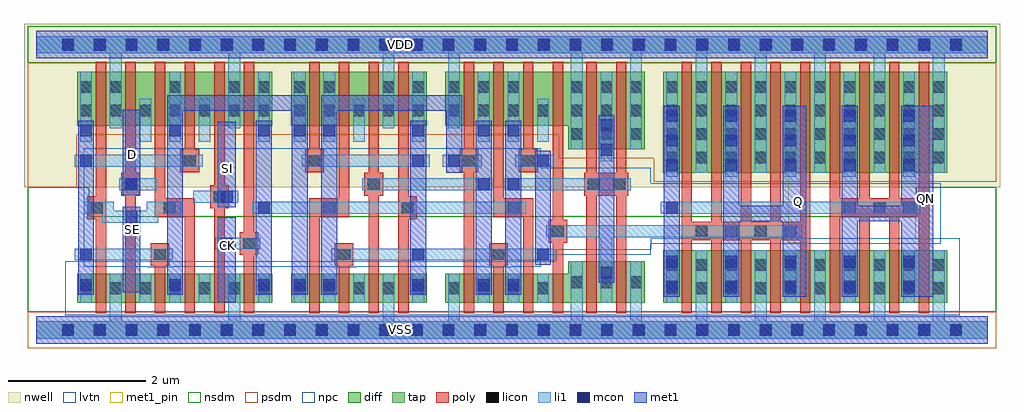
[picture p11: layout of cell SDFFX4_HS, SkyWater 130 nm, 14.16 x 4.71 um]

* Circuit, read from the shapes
.subckt SDFFX4_HS CK D Q QN SE SI VDD VSS
XM1 VSS SE n1 VSS sky130_fd_pr__nfet_01v8_lvt w=0.425 l=0.15
XM2 n2 D VSS VSS sky130_fd_pr__nfet_01v8_lvt w=0.425 l=0.15
XM3 n3 n1 n2 VSS sky130_fd_pr__nfet_01v8_lvt w=0.425 l=0.15
XM4 n4 SE n3 VSS sky130_fd_pr__nfet_01v8_lvt w=0.425 l=0.15
XM5 VSS SI n4 VSS sky130_fd_pr__nfet_01v8_lvt w=0.425 l=0.15
XM6 n5 CK VSS VSS sky130_fd_pr__nfet_01v8_lvt w=0.425 l=0.15
XM7 n6 n5 n3 VSS sky130_fd_pr__nfet_01v8_lvt w=0.425 l=0.15
XM8 n7 n8 n6 VSS sky130_fd_pr__nfet_01v8_lvt w=0.425 l=0.15
XM9 VSS n9 n7 VSS sky130_fd_pr__nfet_01v8_lvt w=0.425 l=0.15
XM10 n8 n5 VSS VSS sky130_fd_pr__nfet_01v8_lvt w=0.425 l=0.15
XM11 n9 n6 VSS VSS sky130_fd_pr__nfet_01v8_lvt w=0.425 l=0.15
XM12 n10 n8 n9 VSS sky130_fd_pr__nfet_01v8_lvt w=0.425 l=0.15
XM13 n11 n5 n10 VSS sky130_fd_pr__nfet_01v8_lvt w=0.425 l=0.15
XM14 VSS n12 n11 VSS sky130_fd_pr__nfet_01v8_lvt w=0.425 l=0.15
XM15 n12 n10 VSS VSS sky130_fd_pr__nfet_01v8_lvt w=0.6 l=0.15 m=2
XM16 VSS n12 n13 VSS sky130_fd_pr__nfet_01v8_lvt w=0.76 l=0.15
XM17 Q n12 VSS VSS sky130_fd_pr__nfet_01v8_lvt w=0.76 l=0.15 m=4
XM18 QN n13 VSS VSS sky130_fd_pr__nfet_01v8_lvt w=0.76 l=0.15 m=4
XM19 VDD SE n1 VDD sky130_fd_pr__pfet_01v8 w=0.78 l=0.15
XM20 n14 D VDD VDD sky130_fd_pr__pfet_01v8 w=0.78 l=0.15
XM21 n3 SE n14 VDD sky130_fd_pr__pfet_01v8 w=0.78 l=0.15
XM22 n15 n1 n3 VDD sky130_fd_pr__pfet_01v8 w=0.78 l=0.15
XM23 VDD SI n15 VDD sky130_fd_pr__pfet_01v8 w=0.78 l=0.15
XM24 n5 CK VDD VDD sky130_fd_pr__pfet_01v8 w=0.78 l=0.15
XM25 n6 n8 n3 VDD sky130_fd_pr__pfet_01v8 w=0.78 l=0.15
XM26 n16 n5 n6 VDD sky130_fd_pr__pfet_01v8 w=0.78 l=0.15
XM27 VDD n9 n16 VDD sky130_fd_pr__pfet_01v8 w=0.78 l=0.15
XM28 n8 n5 VDD VDD sky130_fd_pr__pfet_01v8 w=0.78 l=0.15
XM29 n9 n6 VDD VDD sky130_fd_pr__pfet_01v8 w=0.78 l=0.15
XM30 n10 n5 n9 VDD sky130_fd_pr__pfet_01v8 w=0.78 l=0.15
XM31 n17 n8 n10 VDD sky130_fd_pr__pfet_01v8 w=0.78 l=0.15
XM32 VDD n12 n17 VDD sky130_fd_pr__pfet_01v8 w=0.78 l=0.15
XM33 n12 n10 VDD VDD sky130_fd_pr__pfet_01v8 w=1.12 l=0.15 m=2
XM34 VDD n12 n13 VDD sky130_fd_pr__pfet_01v8 w=1.46 l=0.15
XM35 Q n12 VDD VDD sky130_fd_pr__pfet_01v8 w=1.46 l=0.15 m=4
XM36 QN n13 VDD VDD sky130_fd_pr__pfet_01v8 w=1.46 l=0.15 m=4
.ends

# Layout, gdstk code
from math import pi, radians
import gdstk
lib = gdstk.Library(unit=1e-6, precision=1e-09)
def R(c, l, rs):  # rectangles x0, y0, x1, y1
    for r in rs: c.add(gdstk.rectangle(r[:2], r[2:], *l))
def A(c, l, x, y, w, h, nx, ny, dx, dy):  # array of equal rectangles
    R(c, l, [(x+i*dx, y+j*dy, x+i*dx+w, y+j*dy+h) for i in range(nx) for j in range(ny)])
def P(c, l, *ps):  # polygons
    for p in ps: c.add(gdstk.Polygon(p, *l))
nwell = (64, 20)
diff = (65, 20)
tap = (65, 44)
poly = (66, 20)
licon = (66, 44)
li1 = (67, 20)
mcon = (67, 44)
met1_pin = (68, 16)
met1 = (68, 20)
nsdm = (93, 44)
psdm = (94, 20)
npc = (95, 20)
lvtn = (125, 44)

pyl1con_c_cdns_758729172 = lib.new_cell('PYL1CON_C_CDNS_758729172862')
R(pyl1con_c_cdns_758729172, poly, [(-0.135,-0.165,0.135,0.165)])
R(pyl1con_c_cdns_758729172, licon, [(-0.085,-0.085,0.085,0.085)])
R(pyl1con_c_cdns_758729172, npc, [(-0.185,-0.185,0.185,0.185)])

l1m1_c_cdns_758729172861 = lib.new_cell('L1M1_C_CDNS_7587291728613')
R(l1m1_c_cdns_758729172861, li1, [(-0.085,-0.525,0.085,0.525)])
A(l1m1_c_cdns_758729172861, mcon, -0.085, -0.445, 0.17, 0.17, 1, 3, 0, 0.36)
R(l1m1_c_cdns_758729172861, met1, [(-0.115,-0.505,0.115,0.505)])

c_l1m1_c_cdns_758729172861 = lib.new_cell('L1M1_C_CDNS_758729172861')
R(c_l1m1_c_cdns_758729172861, li1, [(-0.085,-0.165,0.085,0.165)])
R(c_l1m1_c_cdns_758729172861, mcon, [(-0.085,-0.085,0.085,0.085)])
R(c_l1m1_c_cdns_758729172861, met1, [(-0.115,-0.145,0.115,0.145)])

l1m1_c_cdns_758729172864 = lib.new_cell('L1M1_C_CDNS_758729172864')
R(l1m1_c_cdns_758729172864, li1, [(-0.085,-0.345,0.085,0.345)])
R(l1m1_c_cdns_758729172864, mcon, [(-0.085,-0.265,0.085,-0.095), (-0.085,0.095,0.085,0.265)])
R(l1m1_c_cdns_758729172864, met1, [(-0.115,-0.325,0.115,0.325)])

l1m1_c_cdns_758729172860 = lib.new_cell('L1M1_C_CDNS_758729172860')
R(l1m1_c_cdns_758729172860, li1, [(-0.165,-0.085,0.165,0.085)])
R(l1m1_c_cdns_758729172860, mcon, [(-0.085,-0.085,0.085,0.085)])
R(l1m1_c_cdns_758729172860, met1, [(-0.115,-0.145,0.115,0.145)])

licondiff_c_cdns_7587291 = lib.new_cell('LICONDIFF_C_CDNS_7587291728611')
R(licondiff_c_cdns_7587291, diff, [(-0.125,-0.145,0.125,0.145)])
R(licondiff_c_cdns_7587291, licon, [(-0.085,-0.085,0.085,0.085), (-0.085,-0.085,0.085,0.085)])

c_pyl1con_c_cdns_758729172 = lib.new_cell('PYL1CON_C_CDNS_7587291728618')
R(c_pyl1con_c_cdns_758729172, poly, [(-0.135,-0.29,0.135,0.29)])
R(c_pyl1con_c_cdns_758729172, licon, [(-0.085,-0.085,0.085,0.085)])
R(c_pyl1con_c_cdns_758729172, npc, [(-0.185,-0.185,0.185,0.185)])

l1m1_c_cdns_758729172862 = lib.new_cell('L1M1_C_CDNS_7587291728621')
R(l1m1_c_cdns_758729172862, li1, [(-0.125,-0.085,0.125,0.085)])
R(l1m1_c_cdns_758729172862, mcon, [(-0.085,-0.085,0.085,0.085)])
R(l1m1_c_cdns_758729172862, met1, [(-0.115,-0.145,0.115,0.145)])

c_pyl1con_c_cdns_758729172_ = lib.new_cell('PYL1CON_C_CDNS_7587291728622')
R(c_pyl1con_c_cdns_758729172_, poly, [(-0.135,-0.37,0.135,0.21)])
R(c_pyl1con_c_cdns_758729172_, licon, [(-0.085,-0.085,0.085,0.085)])
R(c_pyl1con_c_cdns_758729172_, npc, [(-0.185,-0.185,0.185,0.185)])

sdffx4_hs = lib.new_cell('SDFFX4_HS')
R(sdffx4_hs, nwell, [(-0.18,2.07,13.98,4.445)])
R(sdffx4_hs, diff, [(0.595,0.395,3.425,0.82), (3.695,0.395,5.665,0.82), (9.095,0.395,13.215,1.155), (9.095,2.285,13.215,3.745), (0.595,2.965,3.425,3.745), (3.695,2.965,5.665,3.745)])
P(sdffx4_hs, diff, [(8.825,3.745),(5.935,3.745),(5.935,2.965),(7.715,2.965),(7.715,2.625),(8.825,2.625)],
  [(8.825,0.995),(7.715,0.995),(7.715,0.82),(5.935,0.82),(5.935,0.395),(8.825,0.395)])
A(sdffx4_hs, poly, 9.36, 0.245, 0.15, 3.65, 9, 1, 0.43, 0)
R(sdffx4_hs, poly, [(0.86,0.245,1.01,3.895), (1.29,0.245,1.44,3.895), (1.72,0.245,1.87,0.97), (2.58,0.245,2.73,3.895), (3.01,0.245,3.16,3.895), (4.39,0.245,4.54,0.97), (4.82,0.245,4.97,3.895), (5.25,0.245,5.4,3.895), (6.2,0.245,6.35,3.895), (6.63,0.245,6.78,0.97), (7.49,0.245,7.64,3.895), (2.15,2.455,2.3,3.895), (3.96,2.455,4.11,3.895), (7.06,2.455,7.21,3.895)])
P(sdffx4_hs, poly, [(2.3,1.85),(1.87,1.85),(1.87,3.895),(1.72,3.895),(1.72,1.7),(2.15,1.7),(2.15,0.245),(2.3,0.245)],
  [(4.54,3.895),(4.39,3.895),(4.39,1.85),(3.96,1.85),(3.96,0.245),(4.11,0.245),(4.11,1.7),(4.54,1.7)],
  [(7.21,1.85),(6.78,1.85),(6.78,3.895),(6.63,3.895),(6.63,1.7),(7.06,1.7),(7.06,0.245),(7.21,0.245)],
  [(8.59,2.28),(8.56,2.28),(8.56,3.895),(8.41,3.895),(8.41,2.28),(8.13,2.28),(8.13,3.895),(7.98,3.895),(7.98,2.28),(7.95,2.28),(7.95,1.95),(7.98,1.95),(7.98,0.245),(8.13,0.245),(8.13,1.95),(8.41,1.95),(8.41,0.245),(8.56,0.245),(8.56,1.95),(8.59,1.95)])
A(sdffx4_hs, licon, 0.375, -0.085, 0.17, 0.17, 29, 2, 0.46, 4.14)
A(sdffx4_hs, licon, 1.065, 0.52, 0.17, 0.17, 3, 2, 0.86, 2.58)
A(sdffx4_hs, licon, 5.975, 0.52, 0.17, 0.17, 3, 2, 0.43, 2.58)
A(sdffx4_hs, licon, 9.135, 0.52, 0.17, 0.17, 10, 2, 0.43, 0.34)
A(sdffx4_hs, licon, 7.755, 0.61, 0.17, 0.17, 3, 2, 0.43, 2.15)
A(sdffx4_hs, licon, 9.135, 2.42, 0.17, 0.17, 10, 4, 0.43, 0.34)
A(sdffx4_hs, licon, 7.755, 3.1, 0.17, 0.17, 3, 2, 0.43, 0.34)
A(sdffx4_hs, licon, 1.065, 3.44, 0.17, 0.17, 3, 1, 0.86, 0)
A(sdffx4_hs, licon, 5.975, 3.44, 0.17, 0.17, 3, 1, 0.43, 0)
R(sdffx4_hs, licon, [(0.635,0.52,0.805,0.69), (3.215,0.52,3.385,0.69), (3.735,0.52,3.905,0.69), (4.165,0.52,4.335,0.69), (5.025,0.52,5.195,0.69), (5.455,0.52,5.625,0.69), (0.635,3.1,0.805,3.27), (3.215,3.1,3.385,3.27), (3.735,3.1,3.905,3.27), (4.165,3.1,4.335,3.27), (5.025,3.1,5.195,3.27), (5.455,3.1,5.625,3.27), (0.635,3.44,0.805,3.61), (3.215,3.44,3.385,3.61), (3.735,3.44,3.905,3.61), (4.165,3.44,4.335,3.61), (5.025,3.44,5.195,3.61), (5.455,3.44,5.625,3.61)])
A(sdffx4_hs, li1, 0.635, 0.395, 0.17, 0.425, 3, 1, 1.29, 0)
A(sdffx4_hs, li1, 9.135, 0.395, 0.17, 0.76, 5, 1, 0.86, 0)
A(sdffx4_hs, li1, 9.135, 2.285, 0.17, 1.46, 5, 1, 0.86, 0)
A(sdffx4_hs, li1, 0.635, 2.965, 0.17, 0.78, 3, 1, 1.29, 0)
R(sdffx4_hs, li1, [(3.735,0.395,3.905,0.82), (4.165,0.395,4.335,0.82), (5.455,0.395,5.625,0.82), (6.405,0.395,6.575,0.82), (6.835,0.395,7.005,0.82), (8.185,2.625,8.355,3.745), (3.735,2.965,3.905,3.745), (4.165,2.965,4.335,3.745), (5.455,2.965,5.625,3.745), (6.405,2.965,6.575,3.745), (6.835,2.965,7.005,3.745)])
P(sdffx4_hs, li1, [(2.095,1.86),(1.6,1.86),(1.6,1.73),(1.12,1.73),(1.12,1.86),(0.69,1.86),(0.69,1.69),(0.95,1.69),(0.95,1.56),(1.77,1.56),(1.77,1.69),(2.095,1.69)],
  [(11.105,1.52),(7.4,1.52),(7.4,1.35),(8.185,1.35),(8.185,0.395),(8.355,0.395),(8.355,1.35),(11.105,1.35)],
  [(13.8,4.265),(0,4.265),(0,4.015),(1.065,4.015),(1.065,2.925),(1.235,2.925),(1.235,4.015),(2.785,4.015),(2.785,2.925),(2.955,2.925),(2.955,4.015),(5.025,4.015),(5.025,2.925),(5.195,2.925),(5.195,4.015),(5.975,4.015),(5.975,2.925),(6.145,2.925),(6.145,4.015),(7.755,4.015),(7.755,2.625),(7.925,2.625),(7.925,4.015),(8.615,4.015),(8.615,2.625),(8.785,2.625),(8.785,4.015),(9.565,4.015),(9.565,2.285),(9.735,2.285),(9.735,4.015),(10.425,4.015),(10.425,2.285),(10.595,2.285),(10.595,4.015),(11.285,4.015),(11.285,2.285),(11.455,2.285),(11.455,4.015),(12.145,4.015),(12.145,2.285),(12.315,2.285),(12.315,4.015),(13.005,4.015),(13.005,2.285),(13.175,2.285),(13.175,4.015),(13.8,4.015)],
  [(13.8,0.125),(13.175,0.125),(13.175,1.155),(13.005,1.155),(13.005,0.125),(12.315,0.125),(12.315,1.155),(12.145,1.155),(12.145,0.125),(11.455,0.125),(11.455,1.155),(11.285,1.155),(11.285,0.125),(10.595,0.125),(10.595,1.155),(10.425,1.155),(10.425,0.125),(9.735,0.125),(9.735,1.155),(9.565,1.155),(9.565,0.125),(8.785,0.125),(8.785,0.995),(8.615,0.995),(8.615,0.125),(7.925,0.125),(7.925,0.995),(7.755,0.995),(7.755,0.125),(6.145,0.125),(6.145,0.82),(5.975,0.82),(5.975,0.125),(5.195,0.125),(5.195,0.82),(5.025,0.82),(5.025,0.125),(2.955,0.125),(2.955,0.82),(2.785,0.82),(2.785,0.125),(1.235,0.125),(1.235,0.82),(1.065,0.82),(1.065,0.125),(0,0.125),(0,-0.125),(13.8,-0.125)])
A(sdffx4_hs, mcon, 0.375, -0.085, 0.17, 0.17, 29, 2, 0.46, 4.14)
R(sdffx4_hs, met1_pin, [(2.63,0.4,2.89,1.64), (1.25,0.55,1.51,1.79), (10.91,1.27,11.17,2.51), (12.75,1.32,13.01,2.56), (2.63,1.785,2.89,3.025), (1.25,1.955,1.51,3.195)])
P(sdffx4_hs, met1, [(11.17,3.255),(10.825,3.255),(10.825,1.805),(10.195,1.805),(10.195,3.255),(9.965,3.255),(9.965,0.485),(10.195,0.485),(10.195,1.575),(10.825,1.575),(10.825,0.48),(11.17,0.48)],
  [(13.01,3.255),(12.545,3.255),(12.545,1.805),(11.915,1.805),(11.915,3.255),(11.685,3.255),(11.685,0.485),(11.915,0.485),(11.915,1.575),(12.545,1.575),(12.545,0.48),(13.01,0.48)])
R(sdffx4_hs, nsdm, [(-0.125,3.875,13.925,4.405)])
P(sdffx4_hs, nsdm, [(13.925,2.07),(12.765,2.07),(12.765,1.65),(0.77,1.65),(0.77,2.07),(-0.125,2.07),(-0.125,0.265),(13.925,0.265)])
R(sdffx4_hs, psdm, [(-0.125,-0.265,13.925,0.265)])
P(sdffx4_hs, psdm, [(13.925,3.875),(-0.125,3.875),(-0.125,2.07),(0.585,2.07),(0.585,2.835),(7.575,2.835),(7.575,2.495),(8.955,2.495),(8.955,2.155),(13.925,2.155)])
P(sdffx4_hs, npc, [(13.12,2.13),(8.915,2.13),(8.915,2.355),(7.32,2.355),(7.32,2.64),(0.69,2.64),(0.69,0.915),(7.32,0.915),(7.32,1.09),(8.915,1.09),(8.915,1.25),(13.12,1.25)])
P(sdffx4_hs, lvtn, [(13.395,1.335),(8.915,1.335),(8.915,1.175),(7.535,1.175),(7.535,1),(0.415,1),(0.415,0.215),(13.395,0.215)])
sdffx4_hs.add(gdstk.FlexPath([(5.895,2.455),(6.46,2.455)], 0.17, ends="flush", simple_path=True, layer=67, datatype=20))  # li1
sdffx4_hs.add(gdstk.FlexPath([(3.85,2.455),(5.705,2.455)], 0.17, ends="flush", simple_path=True, layer=67, datatype=20))  # li1
sdffx4_hs.add(gdstk.FlexPath([(6.615,2.115),(4.73,2.115)], 0.17, ends="flush", simple_path=True, layer=67, datatype=20))  # li1
sdffx4_hs.add(gdstk.FlexPath([(0.555,1.095),(1.98,1.095)], 0.17, ends="flush", simple_path=True, layer=67, datatype=20))  # li1
sdffx4_hs.add(gdstk.FlexPath([(4.68,2.73),(4.68,3.355)], 0.17, ends="flush", simple_path=True, layer=67, datatype=20))  # li1
sdffx4_hs.add(gdstk.FlexPath([(4.68,0.395),(4.68,0.82)], 0.17, ends="flush", simple_path=True, layer=67, datatype=20))  # li1
sdffx4_hs.add(gdstk.FlexPath([(2.82,1.935),(2.275,1.935)], 0.17, ends="flush", simple_path=True, layer=67, datatype=20))  # li1
sdffx4_hs.add(gdstk.FlexPath([(3.25,1.255),(2.705,1.255)], 0.17, ends="flush", simple_path=True, layer=67, datatype=20))  # li1
sdffx4_hs.add(gdstk.FlexPath([(3.135,1.775),(7.105,1.775)], 0.17, ends="flush", simple_path=True, layer=67, datatype=20))  # li1
sdffx4_hs.add(gdstk.FlexPath([(7.35,0.395),(7.35,0.82)], 0.17, ends="flush", simple_path=True, layer=67, datatype=20))  # li1
sdffx4_hs.add(gdstk.FlexPath([(7.35,2.73),(7.35,3.355)], 0.17, ends="flush", simple_path=True, layer=67, datatype=20))  # li1
sdffx4_hs.add(gdstk.FlexPath([(6.95,2.455),(7.515,2.455)], 0.17, ends="flush", simple_path=True, layer=67, datatype=20))  # li1
sdffx4_hs.add(gdstk.FlexPath([(0.555,2.455),(2.41,2.455)], 0.17, ends="flush", simple_path=True, layer=67, datatype=20))  # li1
sdffx4_hs.add(gdstk.FlexPath([(1.58,2.73),(1.58,3.355)], 0.17, ends="flush", simple_path=True, layer=67, datatype=20))  # li1
sdffx4_hs.add(gdstk.FlexPath([(2.44,2.73),(2.44,3.355)], 0.17, ends="flush", simple_path=True, layer=67, datatype=20))  # li1
sdffx4_hs.add(gdstk.FlexPath([(6.795,2.115),(8.62,2.115)], 0.17, ends="flush", simple_path=True, layer=67, datatype=20))  # li1
sdffx4_hs.add(gdstk.FlexPath([(4.28,1.095),(7.515,1.095)], 0.17, ends="flush", simple_path=True, layer=67, datatype=20))  # li1
sdffx4_hs.add(gdstk.FlexPath([(9.22,1.775),(12.825,1.775)], 0.17, ends="flush", simple_path=True, layer=67, datatype=20))  # li1
sdffx4_hs.add(gdstk.FlexPath([(1.58,0.395),(1.58,0.82)], 0.17, ends="flush", simple_path=True, layer=67, datatype=20))  # li1
sdffx4_hs.add(gdstk.FlexPath([(2.44,0.395),(2.44,0.82)], 0.17, ends="flush", simple_path=True, layer=67, datatype=20))  # li1
sdffx4_hs.add(gdstk.FlexPath([(1.745,2.115),(1.2,2.115)], 0.17, ends="flush", simple_path=True, layer=67, datatype=20))  # li1
sdffx4_hs.add(gdstk.FlexPath([(0,4.14),(13.8,4.14)], 0.4, ends="flush", simple_path=True, layer=68, datatype=20))  # met1
sdffx4_hs.add(gdstk.FlexPath([(7.35,0.95),(7.35,2.6)], 0.23, ends="flush", simple_path=True, layer=68, datatype=20))  # met1
sdffx4_hs.add(gdstk.FlexPath([(2.01,0.51),(2.01,3.295),(3.82,3.295),(3.82,0.51)], 0.23, ends="flush", simple_path=True, layer=68, datatype=20))  # met1
sdffx4_hs.add(gdstk.FlexPath([(6.06,2.28),(6.06,3.295),(4.25,3.295),(4.25,0.51)], 0.23, ends="flush", simple_path=True, layer=68, datatype=20))  # met1
sdffx4_hs.add(gdstk.FlexPath([(0.72,0.51),(0.72,3.04)], 0.23, ends="flush", simple_path=True, layer=68, datatype=20))  # met1
sdffx4_hs.add(gdstk.FlexPath([(5.54,0.51),(5.54,3.04)], 0.23, ends="flush", simple_path=True, layer=68, datatype=20))  # met1
sdffx4_hs.add(gdstk.FlexPath([(3.3,0.51),(3.3,3.04)], 0.23, ends="flush", simple_path=True, layer=68, datatype=20))  # met1
sdffx4_hs.add(gdstk.FlexPath([(2.76,1.785),(2.76,3.025)], 0.26, ends="flush", simple_path=True, layer=68, datatype=20))  # met1
sdffx4_hs.add(gdstk.FlexPath([(0,0),(13.8,0)], 0.4, ends="flush", simple_path=True, layer=68, datatype=20))  # met1
sdffx4_hs.add(gdstk.FlexPath([(1.38,1.955),(1.38,3.195)], 0.26, ends="flush", simple_path=True, layer=68, datatype=20))  # met1
sdffx4_hs.add(gdstk.FlexPath([(6.92,0.51),(6.92,3.04)], 0.23, ends="flush", simple_path=True, layer=68, datatype=20))  # met1
sdffx4_hs.add(gdstk.FlexPath([(9.22,0.485),(9.22,3.255)], 0.23, ends="flush", simple_path=True, layer=68, datatype=20))  # met1
sdffx4_hs.add(gdstk.FlexPath([(8.27,0.685),(8.27,3.12)], 0.23, ends="flush", simple_path=True, layer=68, datatype=20))  # met1
sdffx4_hs.add(gdstk.FlexPath([(2.76,0.4),(2.76,1.64)], 0.26, ends="flush", simple_path=True, layer=68, datatype=20))  # met1
sdffx4_hs.add(gdstk.FlexPath([(1.38,0.55),(1.38,1.79)], 0.26, ends="flush", simple_path=True, layer=68, datatype=20))  # met1
sdffx4_hs.add(gdstk.FlexPath([(6.49,0.51),(6.49,3.04)], 0.23, ends="flush", simple_path=True, layer=68, datatype=20))  # met1
sdffx4_hs.add(gdstk.FlexPath([(0,4.14),(13.8,4.14)], 0.4, ends="flush", simple_path=True, layer=68, datatype=16))  # met1_pin
sdffx4_hs.add(gdstk.FlexPath([(0,0),(13.8,0)], 0.4, ends="flush", simple_path=True, layer=68, datatype=16))  # met1_pin
sdffx4_hs.add(gdstk.FlexPath([(0,4.14),(13.8,4.14)], 0.25, ends="flush", simple_path=True, layer=65, datatype=44))  # tap
sdffx4_hs.add(gdstk.FlexPath([(0,0),(13.8,0)], 0.25, ends="flush", simple_path=True, layer=65, datatype=44))  # tap
sdffx4_hs.add(gdstk.Reference(pyl1con_c_cdns_758729172, (6.275,2.455), rotation=pi))
sdffx4_hs.add(gdstk.Reference(pyl1con_c_cdns_758729172, (7.565,1.435), rotation=pi, x_reflection=True))
sdffx4_hs.add(gdstk.Reference(pyl1con_c_cdns_758729172, (5.385,1.775), rotation=pi))
sdffx4_hs.add(gdstk.Reference(pyl1con_c_cdns_758729172, (3.085,1.255), x_reflection=True))
sdffx4_hs.add(gdstk.Reference(pyl1con_c_cdns_758729172, (2.655,1.935), x_reflection=True))
sdffx4_hs.add(gdstk.Reference(pyl1con_c_cdns_758729172, (2.225,2.455), rotation=pi))
sdffx4_hs.add(gdstk.Reference(pyl1con_c_cdns_758729172, (1.795,1.095), x_reflection=True))
sdffx4_hs.add(gdstk.Reference(pyl1con_c_cdns_758729172, (4.465,1.095), rotation=pi))
sdffx4_hs.add(gdstk.Reference(pyl1con_c_cdns_758729172, (4.035,2.455), x_reflection=True))
sdffx4_hs.add(gdstk.Reference(pyl1con_c_cdns_758729172, (7.135,2.455), rotation=pi))
sdffx4_hs.add(gdstk.Reference(pyl1con_c_cdns_758729172, (6.705,1.095), x_reflection=True))
sdffx4_hs.add(gdstk.Reference(pyl1con_c_cdns_758729172, (11.8,1.775), rotation=3*pi/2, x_reflection=True))
sdffx4_hs.add(gdstk.Reference(pyl1con_c_cdns_758729172, (12.23,1.775), rotation=3*pi/2, x_reflection=True))
sdffx4_hs.add(gdstk.Reference(pyl1con_c_cdns_758729172, (10.94,1.435), rotation=3*pi/2, x_reflection=True))
sdffx4_hs.add(gdstk.Reference(pyl1con_c_cdns_758729172, (10.51,1.435), rotation=3*pi/2, x_reflection=True))
sdffx4_hs.add(gdstk.Reference(pyl1con_c_cdns_758729172, (10.08,1.435), rotation=3*pi/2, x_reflection=True))
sdffx4_hs.add(gdstk.Reference(pyl1con_c_cdns_758729172, (12.66,1.775), rotation=3*pi/2, x_reflection=True))
sdffx4_hs.add(gdstk.Reference(pyl1con_c_cdns_758729172, (0.875,1.775)))
sdffx4_hs.add(gdstk.Reference(pyl1con_c_cdns_758729172, (4.895,2.115)))
sdffx4_hs.add(gdstk.Reference(pyl1con_c_cdns_758729172, (8.455,2.115), rotation=pi, x_reflection=True))
sdffx4_hs.add(gdstk.Reference(pyl1con_c_cdns_758729172, (8.085,2.115), rotation=pi, x_reflection=True))
sdffx4_hs.add(gdstk.Reference(pyl1con_c_cdns_758729172, (1.365,2.115)))
sdffx4_hs.add(gdstk.Reference(pyl1con_c_cdns_758729172, (9.65,1.435), rotation=3*pi/2, x_reflection=True))
sdffx4_hs.add(gdstk.Reference(l1m1_c_cdns_758729172861, (11.8,2.75)))
sdffx4_hs.add(gdstk.Reference(l1m1_c_cdns_758729172861, (12.66,2.75)))
sdffx4_hs.add(gdstk.Reference(l1m1_c_cdns_758729172861, (9.22,2.75)))
sdffx4_hs.add(gdstk.Reference(l1m1_c_cdns_758729172861, (10.94,2.75)))
sdffx4_hs.add(gdstk.Reference(l1m1_c_cdns_758729172861, (10.08,2.75)))
sdffx4_hs.add(gdstk.Reference(c_l1m1_c_cdns_758729172861, (3.82,2.895)))
sdffx4_hs.add(gdstk.Reference(c_l1m1_c_cdns_758729172861, (3.82,0.655)))
sdffx4_hs.add(gdstk.Reference(c_l1m1_c_cdns_758729172861, (2.01,2.895)))
sdffx4_hs.add(gdstk.Reference(c_l1m1_c_cdns_758729172861, (2.01,0.655)))
sdffx4_hs.add(gdstk.Reference(c_l1m1_c_cdns_758729172861, (0.72,2.895)))
sdffx4_hs.add(gdstk.Reference(c_l1m1_c_cdns_758729172861, (0.72,0.655)))
sdffx4_hs.add(gdstk.Reference(c_l1m1_c_cdns_758729172861, (5.54,0.655), rotation=pi, x_reflection=True))
sdffx4_hs.add(gdstk.Reference(c_l1m1_c_cdns_758729172861, (5.54,2.895), rotation=pi, x_reflection=True))
sdffx4_hs.add(gdstk.Reference(c_l1m1_c_cdns_758729172861, (3.3,0.655)))
sdffx4_hs.add(gdstk.Reference(c_l1m1_c_cdns_758729172861, (3.3,2.895)))
sdffx4_hs.add(gdstk.Reference(c_l1m1_c_cdns_758729172861, (4.25,2.895)))
sdffx4_hs.add(gdstk.Reference(c_l1m1_c_cdns_758729172861, (4.25,0.655)))
sdffx4_hs.add(gdstk.Reference(c_l1m1_c_cdns_758729172861, (6.49,0.655)))
sdffx4_hs.add(gdstk.Reference(c_l1m1_c_cdns_758729172861, (6.49,2.895)))
sdffx4_hs.add(gdstk.Reference(c_l1m1_c_cdns_758729172861, (6.92,0.655), rotation=pi, x_reflection=True))
sdffx4_hs.add(gdstk.Reference(c_l1m1_c_cdns_758729172861, (6.92,2.895), rotation=pi, x_reflection=True))
sdffx4_hs.add(gdstk.Reference(c_l1m1_c_cdns_758729172861, (8.27,0.83), rotation=pi, x_reflection=True))
sdffx4_hs.add(gdstk.Reference(l1m1_c_cdns_758729172864, (8.27,2.795), rotation=pi, x_reflection=True))
sdffx4_hs.add(gdstk.Reference(l1m1_c_cdns_758729172864, (11.8,0.81)))
sdffx4_hs.add(gdstk.Reference(l1m1_c_cdns_758729172864, (12.66,0.81)))
sdffx4_hs.add(gdstk.Reference(l1m1_c_cdns_758729172864, (10.94,0.81)))
sdffx4_hs.add(gdstk.Reference(l1m1_c_cdns_758729172864, (10.08,0.81)))
sdffx4_hs.add(gdstk.Reference(l1m1_c_cdns_758729172864, (9.22,0.81)))
sdffx4_hs.add(gdstk.Reference(l1m1_c_cdns_758729172860, (6.06,2.455)))
sdffx4_hs.add(gdstk.Reference(l1m1_c_cdns_758729172860, (7.35,2.455)))
sdffx4_hs.add(gdstk.Reference(l1m1_c_cdns_758729172860, (7.35,1.095)))
sdffx4_hs.add(gdstk.Reference(l1m1_c_cdns_758729172860, (2.76,1.935), x_reflection=True))
sdffx4_hs.add(gdstk.Reference(l1m1_c_cdns_758729172860, (2.76,1.255), x_reflection=True))
sdffx4_hs.add(gdstk.Reference(l1m1_c_cdns_758729172860, (3.3,1.775)))
sdffx4_hs.add(gdstk.Reference(l1m1_c_cdns_758729172860, (5.54,2.455), rotation=pi, x_reflection=True))
sdffx4_hs.add(gdstk.Reference(l1m1_c_cdns_758729172860, (5.54,1.095), rotation=pi, x_reflection=True))
sdffx4_hs.add(gdstk.Reference(l1m1_c_cdns_758729172860, (1.38,1.645), x_reflection=True))
sdffx4_hs.add(gdstk.Reference(l1m1_c_cdns_758729172860, (1.38,2.115), x_reflection=True))
sdffx4_hs.add(gdstk.Reference(l1m1_c_cdns_758729172860, (9.22,1.775)))
sdffx4_hs.add(gdstk.Reference(l1m1_c_cdns_758729172860, (0.72,1.095)))
sdffx4_hs.add(gdstk.Reference(l1m1_c_cdns_758729172860, (0.72,2.455)))
sdffx4_hs.add(gdstk.Reference(licondiff_c_cdns_7587291, (4.68,3.185)))
sdffx4_hs.add(gdstk.Reference(licondiff_c_cdns_7587291, (4.68,0.605)))
sdffx4_hs.add(gdstk.Reference(licondiff_c_cdns_7587291, (7.35,3.185)))
sdffx4_hs.add(gdstk.Reference(licondiff_c_cdns_7587291, (7.35,0.605)))
sdffx4_hs.add(gdstk.Reference(licondiff_c_cdns_7587291, (2.44,0.605)))
sdffx4_hs.add(gdstk.Reference(licondiff_c_cdns_7587291, (1.58,0.605)))
sdffx4_hs.add(gdstk.Reference(licondiff_c_cdns_7587291, (2.44,3.185)))
sdffx4_hs.add(gdstk.Reference(licondiff_c_cdns_7587291, (1.58,3.185)))
sdffx4_hs.add(gdstk.Reference(c_pyl1con_c_cdns_758729172, (4.25,1.775), rotation=pi/2, x_reflection=True))
sdffx4_hs.add(gdstk.Reference(c_pyl1con_c_cdns_758729172, (6.92,1.775), rotation=pi/2))
sdffx4_hs.add(gdstk.Reference(l1m1_c_cdns_758729172862, (6.49,2.115), rotation=pi, x_reflection=True))
sdffx4_hs.add(gdstk.Reference(l1m1_c_cdns_758729172862, (6.92,2.115), rotation=pi, x_reflection=True))
sdffx4_hs.add(gdstk.Reference(c_pyl1con_c_cdns_758729172_, (1.93,1.775), rotation=pi/2))
sdffx4_hs.add(gdstk.Label('SE', (1.395,1.455), layer=68, texttype=5))
sdffx4_hs.add(gdstk.Label('SI', (2.775,2.34), layer=68, texttype=5))
sdffx4_hs.add(gdstk.Label('D', (1.395,2.55), layer=68, texttype=5))
sdffx4_hs.add(gdstk.Label('Q', (11.055,1.865), layer=68, texttype=5))
sdffx4_hs.add(gdstk.Label('QN', (12.895,1.915), layer=68, texttype=5))
sdffx4_hs.add(gdstk.Label('CK', (2.775,1.23), layer=68, texttype=5))
sdffx4_hs.add(gdstk.Label('VDD', (5.285,4.145), layer=68, texttype=5))
sdffx4_hs.add(gdstk.Label('VSS', (5.285,0.005), layer=68, texttype=5))

lib.write_gds('SDFFX4_HS.gds')
